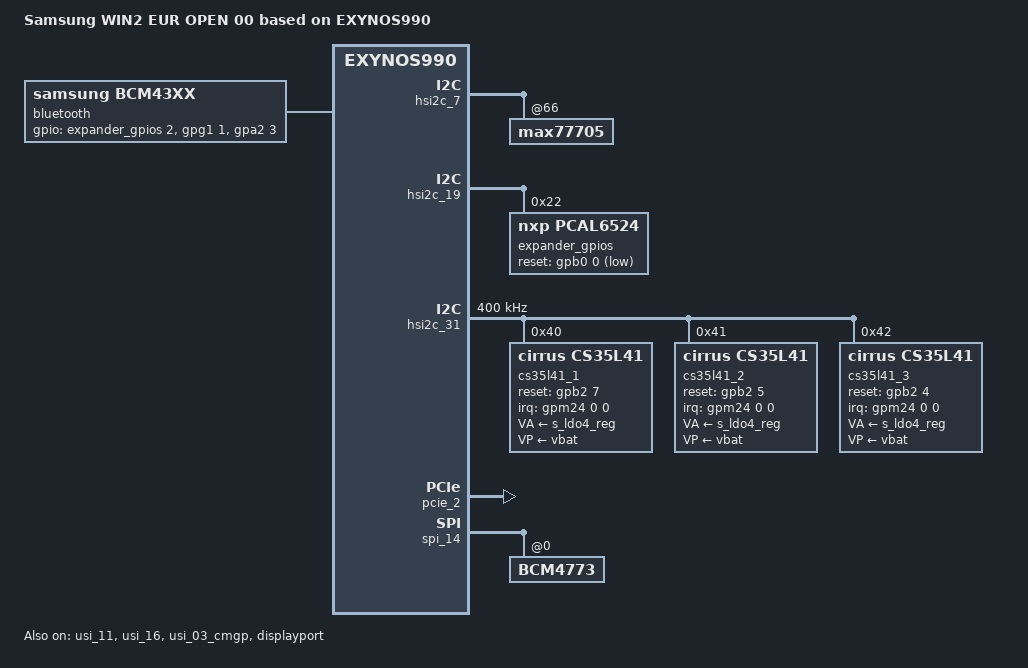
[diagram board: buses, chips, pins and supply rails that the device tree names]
/*
 * SAMSUNG EXYNOS990 board device tree source
 *
 * Copyright (c) 2019 Samsung Electronics Co., Ltd.
 *		http://www.samsung.com
 *
 * This program is free software; you can redistribute it and/or modify
 * it under the terms of the GNU General Public License version 2 as
 * published by the Free Software Foundation.
*/

/dts-v1/;
/plugin/;
#include "exynos9830-win2_pm_00.dtsi"
#include "exynos990-win2_common.dtsi"
#include "exynos_gpio_config_macros.dtsi"
#include "exynos9830-picasso_nfc_03.dtsi"
#include "../exynos/exynos9830-universal9830-cp-s5123-sipc.dtsi"
#include <dt-bindings/gpio/gpio.h>
#include "exynos9830-sensorhub_03.dtsi"
#include "exynos9830-hubbley2_fingerprint_00.dtsi"

#define BOARD_ID	0x10
#define BOARD_REV	0x0

/ {
	compatible = "samsung,WIN2 EUR OPEN 00", "samsung,EXYNOS990";
	dtbo-hw_rev = <0>;
	dtbo-hw_rev_end = <255>;
	edtbo-rev = <0>;

	fragment@model {
		target-path = "/";
		__overlay__ {
			#address-cells = <2>;
			#size-cells = <1>;

			model = "Samsung WIN2 EUR OPEN 00 based on EXYNOS990";

			acpm_ipc {
				compatible = "samsung,exynos-acpm-ipc";
				board-id = <BOARD_ID>;
				board-rev = <BOARD_REV>;
			};

			firmware {
				android: android {
					compatible = "android,firmware";
					vbmeta {
						compatible = "android,vbmeta";
						parts = "vbmeta,boot,system,vendor";
					};
					fstab {
						compatible = "android,fstab";
						vendor: vendor {
							compatible = "android,vendor";
							dev = "/dev/block/platform/13100000.ufs/by-name/vendor";
							type = "ext4";
							mnt_flags = "ro";
							fsmgr_flags = "wait,avb";
							status = "disabled";
						};
					};
				};
			};

			pinctrl@15850000 {
				bt_hostwake: bt-hostwake {
					samsung,pins = "gpa2-3";
					samsung,pin-function = <0>;
					samsung,pin-pud = <1>;
				};
			};

			pinctrl@10730000 {
				bt_btwake: bt-btwake {
					samsung,pins = "gpg1-1";
					samsung,pin-function = <1>;
					samsung,pin-pud = <0>;
					samsung,pin-con-pdn = <3>;
					samsung,pin-pud-pdn = <0>;
				};
			};

			bluetooth {
			compatible = "samsung,bcm43xx";
				gpios = <&expander_gpios 2 0    /*BT_EN*/
				&gpg1 1 0    /*BT_WAKE*/
				&gpa2 3 0    /*BT_HOST_WAKE*/ >;
				pinctrl-names = "default";
				pinctrl-0=<&bt_hostwake &bt_btwake>;
				status = "okay";
			};
		}; /* end of __overlay__ */
	}; /* end of fragment */
}; /* end of root */

&panel_0 {
	/* reset, power */
	gpios = <&gpa3 4 0x1>;
};

&chosen {
	bootargs_ext = "root=/dev/ram0 androidboot.boot_devices=13100000.ufs sec_debug.cp=0";
};

&usi_11 {
	usi_v2_mode = "i2c";
	status = "okay";
};

&usi_16 {
	usi_v2_mode = "spi";
	status = "okay";
};

&usi_03_cmgp {
	usi_v2_mode = "i2c";
	status = "okay";
};

&pinctrl_5 {
	expander_reset_active: expander-reset-active {
	       samsung,pins = "gpb0-0";
	       samsung,pin-function = <1>;
	       samsung,pin-pud = <0>;
	       samsung,pin-val = <1>;
       };
};

&hsi2c_7 {
	max77705@66 {
		max77705,extra_fw_enable = <1>;
	};
};

&hsi2c_19 {
	#address-cells = <1>;
	#size-cells = <0>;
	status = "okay";

	expander_gpios: pcal6524@22 {
		compatible = "nxp,pcal6524";
		gpio-controller;
		#gpio-cells = <2>;
		reg = <0x22>;
		pinctrl-names = "default";
		pinctrl-0 = <&expander_reset_active>;
		reset-gpios = <&gpb0 0 GPIO_ACTIVE_LOW>;
	};
};

&pinctrl_5 {
	lower_spk_amp_rst_n: lower-spk-amp-rst-n {
		samsung,pins ="gpb2-7";
		samsung,pin-function = <1>;
		samsung,pin-val = <0>;
		samsung,pin-pud = <0>;
		samsung,pin-con-pdn =<3>;
		samsung,pin-pud-pdn = <0>;
	};
	upper_spk_amp_rst_n: upper-spk-amp-rst-n {
		samsung,pins ="gpb2-5";
		samsung,pin-function = <1>;
		samsung,pin-val = <0>;
		samsung,pin-pud = <0>;
		samsung,pin-con-pdn =<3>;
		samsung,pin-pud-pdn = <0>;
	};
	rcv_amp_rst_n: rcv-amp-rst-n {
		samsung,pins ="gpb2-4";
		samsung,pin-function = <1>;
		samsung,pin-val = <0>;
		samsung,pin-pud = <0>;
		samsung,pin-con-pdn =<3>;
		samsung,pin-pud-pdn = <0>;
	};
};

&hsi2c_31 {
	#address-cells = <1>;
	#size-cells = <0>;
	status = "okay";
	clock-frequency = <400000>;

	cs35l41_1: cs35l41@40 {
		#sound-dai-cells = <1>;
		compatible = "cirrus,cs35l41";
		reg = <0x40>;
		interrupt-parent = <&gpm24>;
		interrupts = <0 0 0>;
		pinctrl-names = "default";
		pinctrl-0 = <&lower_spk_amp_rst_n>;
		reset-gpios = <&gpb2 7 0>;
		VA-supply = <&s_ldo4_reg>;
		VP-supply = <&vbat>;

		cirrus,dsp-part-name = "cs35l40-lower";
		cirrus,mfd-suffix = "";
		cirrus,bd-suffix = "_lower";

		cirrus,gpio-config2 {
			cirrus,gpio-src-select = <0x4>;
			cirrus,gpio-output-enable;
		};
	};

	cs35l41_2: cs35l41@41 {
		#sound-dai-cells = <1>;
		compatible = "cirrus,cs35l41";
		reg = <0x41>;
		interrupt-parent = <&gpm24>;
		interrupts = <0 0 0>;
		pinctrl-names = "default";
		pinctrl-0 = <&upper_spk_amp_rst_n>;
		reset-gpios = <&gpb2 5 0>;
		VA-supply = <&s_ldo4_reg>;
		VP-supply = <&vbat>;

		cirrus,dsp-part-name = "cs35l40-upper";
		cirrus,mfd-suffix = "_r";
		cirrus,bd-suffix = "_upper";

		cirrus,gpio-config2 {
			cirrus,gpio-src-select = <0x4>;
			cirrus,gpio-output-enable;
		};
	};

	cs35l41_3: cs35l41@42 {
		#sound-dai-cells = <1>;
		compatible = "cirrus,cs35l41";
		reg = <0x42>;
		interrupt-parent = <&gpm24>;
		interrupts = <0 0 0>;
		pinctrl-names = "default";
		pinctrl-0 = <&rcv_amp_rst_n>;
		reset-gpios = <&gpb2 4 0>;
		VA-supply = <&s_ldo4_reg>;
		VP-supply = <&vbat>;

		cirrus,dsp-part-name = "cs35l40-rcv";
		cirrus,mfd-suffix = "_b";
		cirrus,bd-suffix = "_rcv";

		cirrus,gpio-config2 {
			cirrus,gpio-src-select = <0x4>;
			cirrus,gpio-output-enable;
		};
	};
};

&pinctrl_1 {
	hsi2c44_bus: hsi2c44-bus {
		samsung,pins = "gpm12-0", "gpm13-0";
		samsung,pin-function = <2>;
		samsung,pin-pud = <0>;
		samsung,pin-drv = <0>;
	};
};

&pinctrl_5 {
	aux_oe: aux-oe {
		samsung,pins = "gpp6-2";
		samsung,pin-function = <1>;
		samsung,pin-pud = <0>;
		samsung,pin-con-pdn = <3>;
		samsung,pin-pud-pdn = <0>;
		};

	sbu_sel: sbu-sel {
		samsung,pins = "gpp6-1";
		samsung,pin-function = <1>;
		samsung,pin-pud = <0>;
		samsung,pin-con-pdn = <3>;
		samsung,pin-pud-pdn = <0>;
		};
};

&displayport {
	status = "okay";
	dp,aux_sw_oe = <&gpp6 2 0>;
	dp,sbu_sw_sel = <&gpp6 1 0>;
	dp,usb_con_sel = <&gpm26 0 0>;

	pinctrl-names = "default";
	pinctrl-0 = <&aux_oe &sbu_sel>;
};

&pcie_2 {
	status = "okay";
	chip-ver = <1>;
	use-sysmmu = "false";
	use-cache-coherency = "true";
	use-msi = "true";
	use-pcieon-sleep = "true";
	phy-power-off = "false";
	ep-device-type = <EP_SAMSUNG_MODEM>;
	ep-device-name = "MODEM";
};

&ufs {
	/* board type for UFS CAL */
	evt-ver = /bits/ 8 <1>;
};

&spi_14 {
	BCM4773@0 {
		ssp-acc-position = <6>;
	};
};

/* ----------------------------------------------------------------------------
 * Configurations for GPIOs without Device Driver
 * Note: Do NOT add pins using by device drivers to the configuration below
 * ----------------------------------------------------------------------------
 */
/*
 * pin banks of exynos9830 pin-controller 0 (ALIVE) : pinctrl@15850000
 * GPA0, GPA1, GPA2, GPA3, GPA4
 * GPQ0
 */
&pinctrl_0 {
	pinctrl-names = "default";
	pinctrl-0 = <&initial0>;
	initial0: initial-state {
		PIN_IN(gpq0-6, DOWN);			/* XSPEEDY_DCXO */
	};
};

/*
 * pin banks of exynos9830 pin-controller 4 (PERIC0) : pinctrl@10430000
 * GPP0, GPP1, GPP2, GPP3, GPP4
 * GPG0
 */
&pinctrl_4 {
	pinctrl-names = "default";
	pinctrl-0 = <&initial4>;
	initial4: initial-state {
		PIN_IN_SLP(gpp2-4, NONE, INPUT, NONE);	/* SUB_VER_1 */
		PIN_IN_SLP(gpp2-5, NONE, INPUT, NONE);	/* SUB_VER_2 */
	};
};

/*
 * pin banks of exynos9830 pin-controller 5 (PERIC1) : pinctrl@10730000
 * GPP5, GPP6, GPP7, GPP8, GPP9
 * GPC0
 * GPG1
 * GPB0, GPB1, GPB2
 */
&pinctrl_5 {
	pinctrl-names = "default";
	pinctrl-0 = <&initial5>;
	initial5: initial-state {
		PIN_IN_SLP(gpp5-0, NONE, INPUT, NONE);	/* MEM_SCL_1P8 */
		PIN_IN_SLP(gpp5-1, NONE, INPUT, NONE);	/* MEM_SDA_1P8 */
		PIN_IN_SLP(gpp5-5, NONE, INPUT, NONE);	/* HW_REV_M */
		PIN_IN_SLP(gpb0-1, NONE, INPUT, NONE);	/* INTERPOSER_DET_R_1 */
		PIN_IN_SLP(gpb0-2, NONE, INPUT, NONE);	/* INTERPOSER_DET_L_1 */
		PIN_IN_SLP(gpb0-3, NONE, INPUT, NONE);	/* INTERPOSER_DET_L_2 */
	};
};
